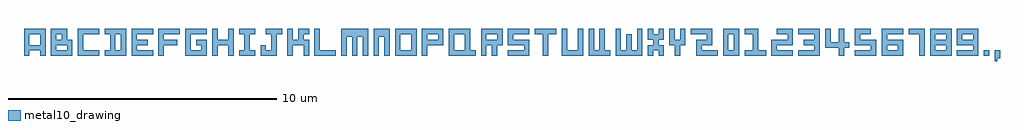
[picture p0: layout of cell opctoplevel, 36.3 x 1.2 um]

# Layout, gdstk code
import gdstk
lib = gdstk.Library(unit=1e-6, precision=1e-09)
def R(c, l, rs):  # rectangles x0, y0, x1, y1
    for r in rs: c.add(gdstk.rectangle(r[:2], r[2:], *l))
def P(c, l, *ps):  # polygons
    for p in ps: c.add(gdstk.Polygon(p, *l))
metal10_drawing = (26, 0)

opctoplevel = lib.new_cell('opctoplevel')
R(opctoplevel, metal10_drawing, [(35.7,0,35.9,0.2)])
P(opctoplevel, metal10_drawing, [(0,0),(0.2,0),(0.2,0.2),(0.6,0.2),(0.6,0),(0.8,0),(0.8,1),(0.6,1),(0.6,0.4),(0.2,0.4),(0.2,0.8),(0.6,0.8),(0.6,1),(0,1),(0,0.6)],
  [(1,0),(1.8,0),(1.8,0.6),(1.6,0.6),(1.6,0.2),(1.2,0.2),(1.2,0.4),(1.6,0.4),(1.6,1),(1.4,1),(1.4,0.6),(1.2,0.6),(1.2,0.8),(1.4,0.8),(1.4,1),(1,1)],
  [(2,0),(2.8,0),(2.8,0.2),(2.2,0.2),(2.2,0.8),(2.8,0.8),(2.8,1),(2,1),(2,0.9)],
  [(3,0),(3.8,0),(3.8,1),(3.6,1),(3.6,0.2),(3.4,0.2),(3.4,0.8),(3.6,0.8),(3.6,1),(3,1),(3,0.8),(3.2,0.8),(3.2,0.2),(3,0.2)],
  [(4,0),(4.8,0),(4.8,0.2),(4.2,0.2),(4.2,0.4),(4.6,0.4),(4.6,0.6),(4.2,0.6),(4.2,0.8),(4.8,0.8),(4.8,1),(4,1)],
  [(5,0),(5.2,0),(5.2,0.4),(5.7,0.4),(5.7,0.6),(5.2,0.6),(5.2,0.8),(5.8,0.8),(5.8,1),(5,1)],
  [(6,0),(6.8,0),(6.8,0.6),(6.4,0.6),(6.4,0.4),(6.6,0.4),(6.6,0.2),(6.2,0.2),(6.2,0.8),(6.8,0.8),(6.8,1),(6,1)],
  [(7,0),(7.2,0),(7.2,0.4),(7.6,0.4),(7.6,0),(7.8,0),(7.8,1),(7.6,1),(7.6,0.6),(7.2,0.6),(7.2,1),(7,1)],
  [(8,0),(8.6,0),(8.6,0.2),(8.4,0.2),(8.4,0.8),(8.6,0.8),(8.6,1),(8,1),(8,0.8),(8.2,0.8),(8.2,0.2),(8,0.2)],
  [(8.8,0),(9.4,0),(9.4,0.8),(9.6,0.8),(9.6,1),(9,1),(9,0.8),(9.2,0.8),(9.2,0.2),(9,0.2),(9,0.4),(8.8,0.4)],
  [(9.8,0),(10,0),(10,0.4),(10.4,0.4),(10.4,0),(10.6,0),(10.6,0.6),(10.4,0.6),(10.4,0.8),(10.6,0.8),(10.6,1),(10.2,1),(10.2,0.6),(10,0.6),(10,1),(9.8,1)],
  [(10.8,0),(11.6,0),(11.6,0.2),(11,0.2),(11,1),(10.8,1)],
  [(11.8,0),(12,0),(12,0.7),(12.2,0.7),(12.2,0),(12.4,0),(12.4,0.7),(12.6,0.7),(12.6,0),(12.8,0),(12.8,1),(11.8,1)],
  [(13,0),(13.2,0),(13.2,0.7),(13.4,0.7),(13.4,0),(13.6,0),(13.6,1),(13,1)],
  [(13.8,0),(14.6,0),(14.6,1),(14.4,1),(14.4,0.2),(14,0.2),(14,0.8),(14.4,0.8),(14.4,1),(13.8,1)],
  [(14.8,0),(15,0),(15,0.4),(15.6,0.4),(15.6,1),(15.4,1),(15.4,0.6),(15,0.6),(15,0.8),(15.4,0.8),(15.4,1),(14.8,1)],
  [(15.8,0),(16.8,0),(16.8,0.2),(16.6,0.2),(16.6,1),(16.4,1),(16.4,0.2),(16,0.2),(16,0.8),(16.4,0.8),(16.4,1),(15.8,1)],
  [(17,0),(17.2,0),(17.2,0.4),(17.4,0.4),(17.4,0),(17.6,0),(17.6,0.4),(17.8,0.4),(17.8,1),(17.6,1),(17.6,0.6),(17.2,0.6),(17.2,0.8),(17.6,0.8),(17.6,1),(17,1)],
  [(18,0),(18.8,0),(18.8,0.6),(18.2,0.6),(18.2,0.8),(18.8,0.8),(18.8,1),(18,1),(18,0.4),(18.6,0.4),(18.6,0.2),(18,0.2)],
  [(19,0.8),(19.3,0.8),(19.3,0),(19.5,0),(19.5,0.8),(19.8,0.8),(19.8,1),(19,1)],
  [(20,0),(20.8,0),(20.8,1),(20.6,1),(20.6,0.2),(20.2,0.2),(20.2,1),(20,1)],
  [(21,0),(21.8,0),(21.8,0.2),(21.6,0.2),(21.6,1),(21.4,1),(21.4,0.2),(21.2,0.2),(21.2,1),(21,1)],
  [(22,0),(23,0),(23,1),(22.8,1),(22.8,0.2),(22.6,0.2),(22.6,0.8),(22.4,0.8),(22.4,0.2),(22.2,0.2),(22.2,1),(22,1)],
  [(23.2,0),(23.4,0),(23.4,0.2),(23.6,0.2),(23.6,0),(23.8,0),(23.8,0.4),(23.6,0.4),(23.6,0.6),(23.8,0.6),(23.8,1),(23.6,1),(23.6,0.8),(23.4,0.8),(23.4,1),(23.2,1),(23.2,0.6),(23.4,0.6),(23.4,0.4),(23.2,0.4)],
  [(24,1),(24,0.4),(24.2,0.4),(24.2,0),(24.4,0),(24.4,0.4),(24.6,0.4),(24.6,1),(24.4,1),(24.4,0.6),(24.2,0.6),(24.2,1)],
  [(25,0),(25.8,0),(25.8,0.2),(25.2,0.2),(25.2,0.4),(25.6,0.4),(25.6,1),(24.8,1),(24.8,0.8),(25.4,0.8),(25.4,0.6),(25,0.6)],
  [(26,0),(26.6,0),(26.6,1),(26.4,1),(26.4,0.2),(26.2,0.2),(26.2,0.8),(26.4,0.8),(26.4,1),(26,1)],
  [(26.8,0),(27.6,0),(27.6,0.2),(27.3,0.2),(27.3,1),(26.8,1),(26.8,0.8),(27.1,0.8),(27.1,0.2),(26.8,0.2)],
  [(27.8,0),(28.6,0),(28.6,0.2),(28,0.2),(28,0.4),(28.6,0.4),(28.6,1),(28,1),(28,0.8),(28.4,0.8),(28.4,0.6),(27.8,0.6)],
  [(28.8,0),(29.6,0),(29.6,1),(28.8,1),(28.8,0.8),(29.4,0.8),(29.4,0.6),(29,0.6),(29,0.4),(29.4,0.4),(29.4,0.2),(28.8,0.2)],
  [(29.8,0.3),(30.3,0.3),(30.3,0),(30.5,0),(30.5,0.3),(30.7,0.3),(30.7,0.5),(30.5,0.5),(30.5,1),(30.3,1),(30.3,0.5),(30,0.5),(30,1),(29.8,1),(29.8,0.6)],
  [(30.9,0),(31.7,0),(31.7,0.6),(31.1,0.6),(31.1,0.8),(31.5,0.8),(31.5,1),(30.9,1),(30.9,0.4),(31.5,0.4),(31.5,0.2),(30.9,0.2)],
  [(31.9,0),(32.7,0),(32.7,0.6),(32.5,0.6),(32.5,0.2),(32.1,0.2),(32.1,0.4),(32.5,0.4),(32.5,0.6),(32.1,0.6),(32.1,0.8),(32.7,0.8),(32.7,1),(31.9,1)],
  [(32.9,0.8),(33.3,0.8),(33.3,0),(33.5,0),(33.5,1),(32.9,1)],
  [(33.7,0),(34.5,0),(34.5,1),(34.3,1),(34.3,0.2),(33.9,0.2),(33.9,0.4),(34.3,0.4),(34.3,0.6),(33.9,0.6),(33.9,0.8),(34.3,0.8),(34.3,1),(33.7,1)],
  [(34.7,0),(35.5,0),(35.5,1),(35.3,1),(35.3,0.6),(34.9,0.6),(34.9,0.8),(35.3,0.8),(35.3,1),(34.7,1),(34.7,0.4),(35.3,0.4),(35.3,0.2),(34.7,0.2)],
  [(36.1,-0.2),(36.2,-0.2),(36.2,-0.1),(36.3,-0.1),(36.3,0.2),(36.1,0.2)])

lib.write_gds('opctoplevel.gds')
